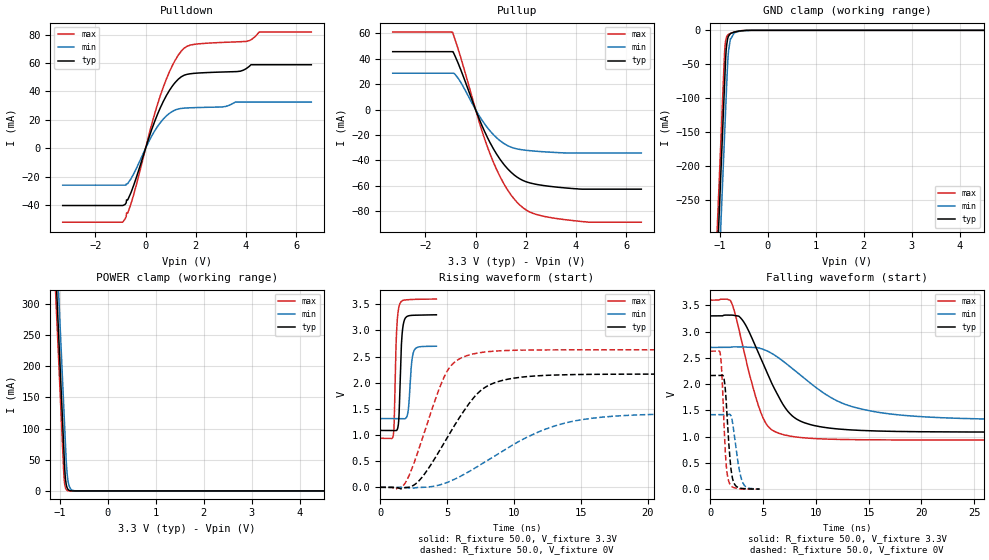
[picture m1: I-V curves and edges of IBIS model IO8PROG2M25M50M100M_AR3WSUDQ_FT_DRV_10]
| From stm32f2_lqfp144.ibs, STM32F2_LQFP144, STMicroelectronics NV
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| *** New cell (Generated with 5.14beta1 (Sep 20 2010 13:23:23))
[Model]   IO8PROG2M25M50M100M_AR3WSUDQ_FT_DRV_10
Model_type 3-state
Polarity   Non-Inverting
Enable   Active-Low
| CAP_THRESHOLD on pad IOV33 is "CMOS" :
| Rising=10.0% of vddio   Falling=90.0% of vddio
| C_comp min and max val. don't necessarily correlate with the min and max pvt
| but are the smallest and greatest pad capacitance found.
| var   typ   min   max
C_comp   2.51755pF  2.40375pF  2.66060pF
Vmeas = 1.65V   | Reference voltage for timing measurements
Cref  = 50.0pF   | Timing specification test load capacitance value
Rref  = 10.0MOhm   | Timing specification test load resistance value
Vref  = 1.65V   | Timing specification test load voltage
[Model Spec]
| variable   typ   min   max
[Temperature Range] 25.0 125.0 -40.0
| variable   typ   min   max
[Voltage Range] 3.3V 2.7V 3.6V
| variable   typ   min   max
[POWER Clamp Reference] 3.3V 2.7V 3.6V
| variable   typ   min   max
[GND Clamp Reference] 0V 0V 0V
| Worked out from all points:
|   slope of the pulldown table from 0 to 0.495 V, typ, clamps not added: 20 ohm
|   slope of the pullup table from 0 to 0.495 V, typ, clamps not added: 21.7 ohm
|   GND clamp passes 1 mA (typ) near -0.59 V on its own axis
|   POWER clamp passes 1 mA (typ) near -0.81 V on its own axis
|   rising waveform, R_fixture 50.0, V_fixture 3.3V: 20-80 % time 185ps typ, 224ps min, 174ps max; typ from 1.09 V to 3.3 V
|   falling waveform, R_fixture 50.0, V_fixture 3.3V: 20-80 % time 3.18ns typ, 6.14ns min, 2.09ns max; typ from 3.3 V to 1.09 V
|   rising waveform, R_fixture 50.0, V_fixture 0V: 20-80 % time 3.26ns typ, 6.07ns min, 2.16ns max; typ from 0 V to 2.17 V
|   falling waveform, R_fixture 50.0, V_fixture 0V: 20-80 % time 445ps typ, 627ps min, 360ps max; typ from 2.17 V to 0.002 V
[POWER Clamp]
-3.3V     4.117A     4.183A     4.076A
-1.09V    360mA      425.6mA    319.3mA
-1.05V    292mA      357.6mA    251.3mA
-1.01V    224mA      289.6mA    183.3mA
-910mV    53.96mA    119.6mA    18.43mA
-900mV    36.96mA    102.6mA    11.2mA
-880mV    16.97mA    68.61mA    4.141mA
-860mV    7.791mA    38.56mA    1.53mA
-840mV    3.577mA    21.53mA    565.5uA
-780mV    346.2uA    3.745mA    28.55uA
-660mV    3.242uA    113.2uA    73.21nA
6.6V      0A         0A         0A
[GND Clamp]
-3.3V     -4.156A    -4.231A    -4.108A
-1.06V    -347.5mA   -423.2mA   -300.1mA
-940mV    -143.5mA   -219.2mA   -96.09mA
-900mV    -75.54mA   -151.2mA   -30.39mA
-880mV    -41.78mA   -117.2mA   -15.62mA
-870mV    -30.28mA   -100.2mA   -12.04mA
-840mV    -13.1mA    -50.87mA   -7.186mA
-820mV    -8.54mA    -30.65mA   -5.881mA
-780mV    -4.86mA    -12.37mA   -4.416mA
-700mV    -2.552mA   -3.603mA   -2.454mA
-350mV    -11.93uA   -60.06uA   -2.46uA
6.6V      10.25nA    1.32uA     122.8pA
| variable   typ   min   max
[Pullup Reference] 3.3V 2.7V 3.6V
| variable   typ   min   max
[Pulldown Reference] 0V 0V 0V
[Pullup]
-3.3V     45.53mA    28.58mA    60.92mA
-920mV    45.53mA    28.58mA    60.92mA
-700mV    36.74mA    24.81mA    47.95mA
120mV     -6.142mA   -4.065mA   -8.189mA
590mV     -26.5mA    -17.07mA   -35.52mA
1.18V     -44.36mA   -27.27mA   -60.11mA
1.54V     -51.43mA   -30.39mA   -70.35mA
1.89V     -55.75mA   -31.69mA   -77.18mA
2.48V     -58.98mA   -32.83mA   -82.75mA
3.6V      -61.62mA   -34.07mA   -86.61mA
4.49V     -62.54mA   -34.07mA   -88.47mA
6.6V      -62.54mA   -34.07mA   -88.51mA
[Pulldown]
-3.3V     -40.26mA   -25.94mA   -51.99mA
-910mV    -40.26mA   -25.94mA   -51.99mA
-820mV    -39.59mA   -25.94mA   -49.78mA
-470mV    -25.89mA   -17.87mA   -32.39mA
240mV     12.97mA    8.52mA     16.62mA
590mV     28.62mA    18.11mA    37.2mA
1.07V     43.85mA    26mA       58.31mA
1.54V     51.42mA    28.24mA    70.48mA
2.01V     52.82mA    28.63mA    73.27mA
4.01V     56.05mA    32.5mA     75.18mA
4.52V     58.79mA    32.5mA     81.73mA
6.6V      58.79mA    32.5mA     81.73mA
[Ramp]
dV/dt_r 1.29886V/3.25743ns 851.30591mV/6.07459ns 1.57727V/2.15602ns
dV/dt_f 1.32782V/3.18057ns 831.60152mV/6.14763ns 1.59819V/2.08726ns
R_load = 50.0
| Removed startup time: 0s 0s 0s  .
| Removed end time: 4.19ns.
[Rising Waveform]
R_fixture   = 50.0
V_fixture   = 3.3V
V_fixture_min = 2.7V
V_fixture_max = 3.6V
0s        1.087V     1.314V     936.3mV
980ps     1.087V     1.314V     1.004V
1.22ns    1.089V     1.314V     2.987V
1.372ns   1.258V     1.314V     3.424V
1.466ns   1.88V      1.314V     3.512V
1.612ns   2.867V     1.313V     3.561V
1.839ns   3.22V      1.31V      3.58V
2.092ns   3.276V     1.479V     3.587V
2.514ns   3.289V     2.607V     3.592V
4.192ns   3.297V     2.697V     3.598V
| Removed startup time: 0s 0s 0s  .
| Removed end time: 43.665ns.
[Falling Waveform]
R_fixture   = 50.0
V_fixture   = 3.3V
V_fixture_min = 2.7V
V_fixture_max = 3.6V
0s        3.3V       2.7V       3.6V
1.945ns   3.316V     2.705V     3.58V
3.12ns    3.201V     2.71V      2.686V
4.805ns   2.479V     2.678V     1.453V
5.595ns   2.118V     2.612V     1.17V
6.8ns     1.645V     2.454V     1.046V
9.265ns   1.243V     2.054V     972.3mV
12.32ns   1.143V     1.654V     947.7mV
16.09ns   1.107V     1.459V     939.6mV
43.67ns   1.087V     1.315V     936.3mV
| Removed startup time: 0s 0s 0s  .
| Removed end time: 34.175ns.
[Rising Waveform]
R_fixture   = 50.0
V_fixture   = 0V
V_fixture_min = 0V
V_fixture_max = 0V
0s        8.53nV     394.6nV    5.736nV
1.875ns   -7.454mV   -2.583mV   87.22mV
2.995ns   153.3mV    -2.264mV   817.4mV
4.815ns   868.7mV    75.6mV     2.133V
5.61ns    1.209V     161mV      2.404V
6.675ns   1.614V     307mV      2.532V
9.05ns    2.039V     680.2mV    2.611V
12.11ns   2.136V     1.089V     2.626V
14.91ns   2.156V     1.287V     2.628V
34.19ns   2.165V     1.419V     2.629V
| Removed startup time: 0s 0s 0s  .
| Removed end time: 4.664ns.
[Falling Waveform]
R_fixture   = 50.0
V_fixture   = 0V
V_fixture_min = 0V
V_fixture_max = 0V
0s        2.165V     1.419V     2.629V
957ps     2.166V     1.419V     2.563V
1.143ns   2.171V     1.419V     2.033V
1.362ns   2.022V     1.418V     962.6mV
1.536ns   1.585V     1.42V      399.3mV
1.778ns   809.1mV    1.427V     134.2mV
2.184ns   149.3mV    1.171V     33.68mV
2.628ns   33.88mV    505mV      12.47mV
3.039ns   14.05mV    145.3mV    4.856mV
4.666ns   1.798mV    3.784mV    1.063mV
